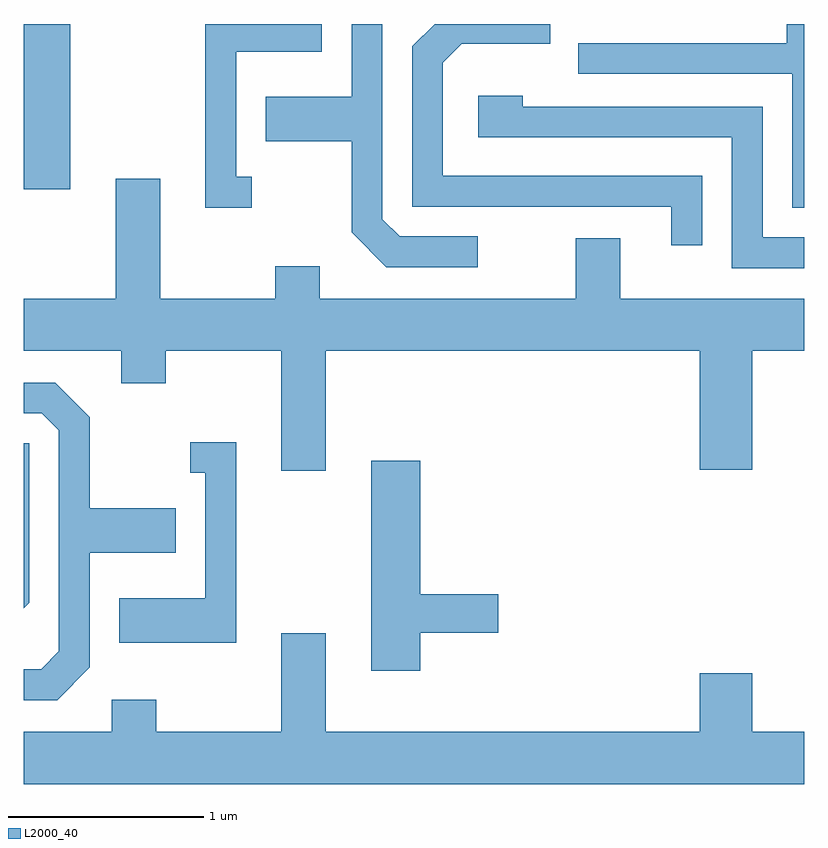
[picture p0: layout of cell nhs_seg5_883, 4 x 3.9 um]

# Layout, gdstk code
import gdstk
lib = gdstk.Library(unit=1e-6, precision=1e-09)
def R(c, l, rs):  # rectangles x0, y0, x1, y1
    for r in rs: c.add(gdstk.rectangle(r[:2], r[2:], *l))
def P(c, l, *ps):  # polygons
    for p in ps: c.add(gdstk.Polygon(p, *l))
L2000_40 = (2000, 40)

nhs_seg5_883 = lib.new_cell('nhs_seg5_883')
R(nhs_seg5_883, L2000_40, [(211.611,1413.226,211.849,1414.072)])
P(nhs_seg5_883, L2000_40, [(215.089,1413.294),(213.759,1413.294),(213.759,1413.874),(213.857,1413.971),(214.309,1413.971),(214.309,1414.072),(213.717,1414.072),(213.601,1413.957),(213.601,1413.136),(214.931,1413.136),(214.931,1412.938),(215.089,1412.938)],
  [(215.611,1414.072),(215.521,1414.072),(215.521,1413.974),(214.453,1413.974),(214.453,1413.816),(215.551,1413.816),(215.551,1413.131),(215.611,1413.131)],
  [(212.778,1413.289),(212.699,1413.289),(212.699,1413.931),(213.139,1413.931),(213.139,1414.072),(212.541,1414.072),(212.541,1413.131),(212.778,1413.131)],
  [(213.938,1412.984),(213.537,1412.984),(213.449,1413.072),(213.449,1414.072),(213.291,1414.072),(213.291,1413.699),(212.851,1413.699),(212.851,1413.471),(213.291,1413.471),(213.291,1413.004),(213.469,1412.826),(213.938,1412.826)],
  [(215.611,1412.979),(215.399,1412.979),(215.399,1413.649),(214.169,1413.649),(214.169,1413.704),(213.941,1413.704),(213.941,1413.491),(215.241,1413.491),(215.241,1412.821),(215.611,1412.821)],
  [(213.159,1412.396),(215.076,1412.396),(215.076,1411.786),(215.344,1411.786),(215.344,1412.396),(215.611,1412.396),(215.611,1412.664),(214.669,1412.664),(214.669,1412.974),(214.441,1412.974),(214.441,1412.664),(213.129,1412.664),(213.129,1412.829),(212.901,1412.829),(212.901,1412.664),(212.309,1412.664),(212.309,1413.279),(212.081,1413.279),(212.081,1412.664),(211.611,1412.664),(211.611,1412.396),(212.111,1412.396),(212.111,1412.231),(212.339,1412.231),(212.339,1412.396),(212.931,1412.396),(212.931,1411.781),(213.159,1411.781)],
  [(211.949,1410.774),(211.949,1411.361),(212.389,1411.361),(212.389,1411.589),(211.949,1411.589),(211.949,1412.057),(211.772,1412.234),(211.611,1412.234),(211.611,1412.076),(211.704,1412.076),(211.791,1411.989),(211.791,1410.857),(211.699,1410.764),(211.611,1410.764),(211.611,1410.606),(211.782,1410.606)],
  [(212.699,1411.929),(212.463,1411.929),(212.463,1411.771),(212.541,1411.771),(212.541,1411.129),(212.101,1411.129),(212.101,1410.901),(212.699,1410.901)],
  [(211.639,1411.104),(211.639,1411.924),(211.611,1411.924),(211.611,1411.076)],
  [(213.644,1410.951),(214.044,1410.951),(214.044,1411.149),(213.644,1411.149),(213.644,1411.834),(213.391,1411.834),(213.391,1410.756),(213.644,1410.756)],
  [(215.611,1410.444),(215.344,1410.444),(215.344,1410.744),(215.076,1410.744),(215.076,1410.444),(213.159,1410.444),(213.159,1410.949),(212.931,1410.949),(212.931,1410.444),(212.289,1410.444),(212.289,1410.609),(212.061,1410.609),(212.061,1410.444),(211.611,1410.444),(211.611,1410.176),(215.611,1410.176)])

lib.write_gds('nhs_seg5_883.gds')
